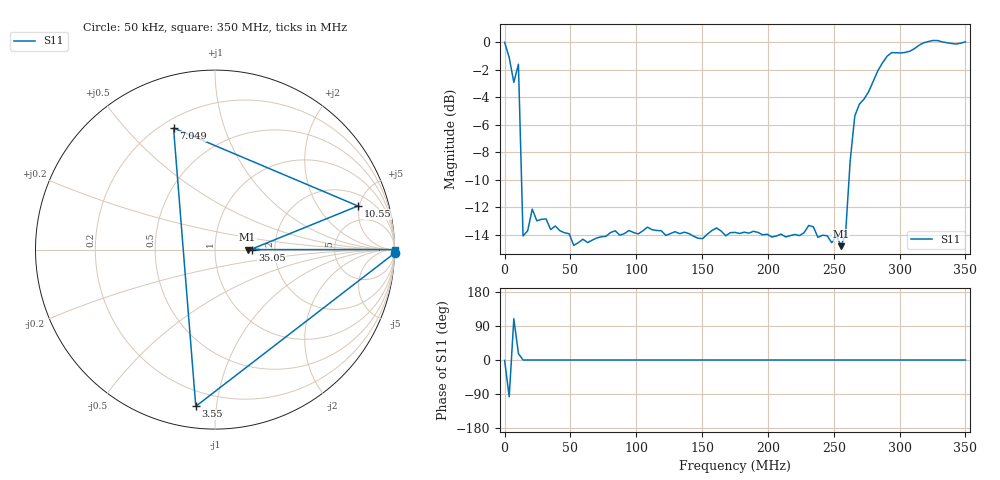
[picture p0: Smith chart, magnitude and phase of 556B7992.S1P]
!File created by NanoVNA
# Hz S RI R 50
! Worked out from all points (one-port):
!   101 points, 50 kHz to 350 MHz, reference 50 ohm
!   lowest |S11| = -14.8 dB at 255.5 MHz (marker M1), VSWR 1.44, Z = 72.1 + j0 ohm
!   |S11| at or under -10 dB: 12.9 MHz to 261.6 MHz (248.7 MHz wide, 181 % of centre)
!   S11 on the Smith chart (normalised r, x): 50 kHz: open; 3.55 MHz: 0.11, -0.88; 7.049 MHz: 0.25, +0.69; 10.55 MHz: 3.05, +4.84; 35.05 MHz: 1.53, +0.00; 350 MHz: open
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50000  1.001 -0.0191
3549500  -0.1071 -0.8731
7049000  -0.231 0.6772
1.05485e7  0.7964 0.243
1.4048e7  0.1973 0
1.75475e7  0.206 0
2.1047e7  0.2471 0
2.45465e7  0.224 0
3.5045e7  0.2081 0
4.55435e7  0.2027 0
5.25425e7  0.1823 0
8.75375e7  0.1986 0
1.085345e8  0.2124 0
1.33031e8  0.2011 0
1.75025e8  0.2033 0
2.205185e8  0.1998 0
2.31017e8  0.2154 0
2.485145e8  0.1865 0
2.52014e8  0.1987 0
2.555135e8  0.1811 0
2.59013e8  0.2014 0
2.625125e8  0.371 0
2.66012e8  0.54 0
2.765105e8  0.6613 0
2.905085e8  0.8901 0
3.08006e8  0.9296 0
3.255035e8  1.016 0
3.5e8  1.005 0
